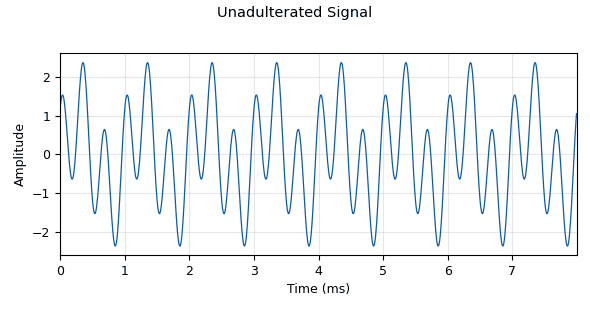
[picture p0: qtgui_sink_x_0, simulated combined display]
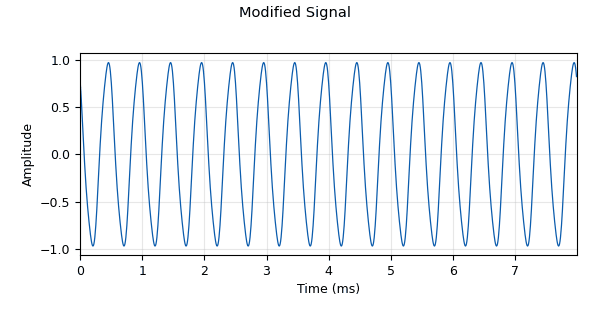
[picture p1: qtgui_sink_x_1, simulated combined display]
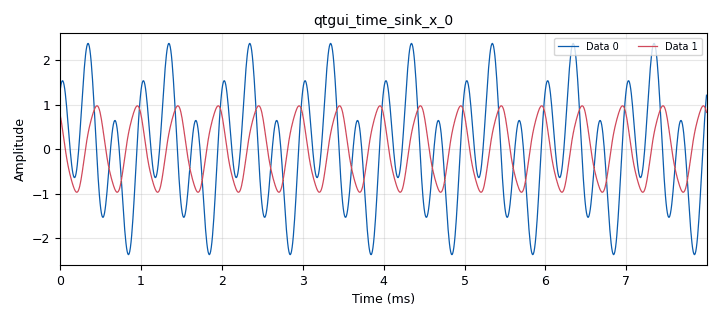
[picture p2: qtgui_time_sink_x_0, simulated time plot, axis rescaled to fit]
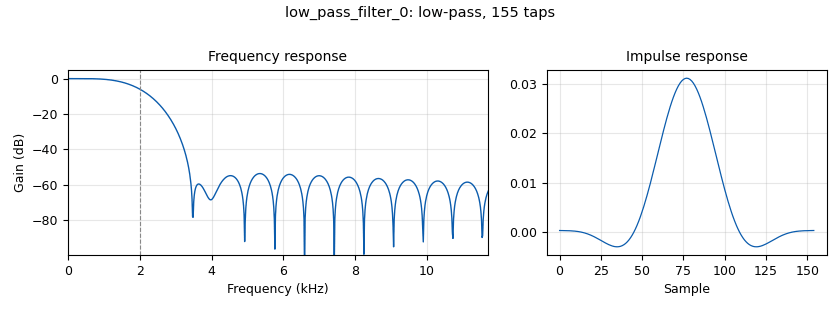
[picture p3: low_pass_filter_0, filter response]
<?xml version='1.0' encoding='utf-8'?>
<?grc format='1' created='3.7.9'?>
<flow_graph>
<block>
<key>options</key>
<param><key>id</key><value>top_block</value></param>
<param><key>category</key><value>Custom</value></param>
<param><key>generate_options</key><value>qt_gui</value></param>
</block>
<block>
<key>variable</key>
<param><key>id</key><value>samp_rate</value></param>
<param><key>value</key><value>32000*4</value></param>
</block>
<block>
<key>variable_qtgui_range</key>
<param><key>id</key><value>ui_lp_decimation</value></param>
<param><key>value</key><value>2</value></param>
<param><key>label</key><value>Decimation</value></param>
<param><key>min_len</key><value>1</value></param>
<param><key>orient</key><value>Qt.Horizontal</value></param>
<param><key>start</key><value>1</value></param>
<param><key>step</key><value>1</value></param>
<param><key>stop</key><value>5</value></param>
<param><key>widget</key><value>counter</value></param>
</block>
<block>
<key>analog_sig_source_x</key>
<param><key>id</key><value>analog_sig_source_x_0</value></param>
<param><key>amp</key><value>1</value></param>
<param><key>freq</key><value>1000</value></param>
<param><key>offset</key><value>0</value></param>
<param><key>type</key><value>float</value></param>
<param><key>samp_rate</key><value>samp_rate</value></param>
<param><key>waveform</key><value>analog.GR_SIN_WAVE</value></param>
</block>
<block>
<key>analog_sig_source_x</key>
<param><key>id</key><value>analog_sig_source_x_1</value></param>
<param><key>amp</key><value>1.5</value></param>
<param><key>freq</key><value>3000</value></param>
<param><key>offset</key><value>0</value></param>
<param><key>type</key><value>float</value></param>
<param><key>samp_rate</key><value>samp_rate</value></param>
<param><key>waveform</key><value>analog.GR_COS_WAVE</value></param>
</block>
<block>
<key>blocks_add_xx</key>
<param><key>id</key><value>blocks_add_xx_0</value></param>
<param><key>type</key><value>float</value></param>
</block>
<block>
<key>blocks_throttle</key>
<param><key>id</key><value>blocks_throttle_0</value></param>
<param><key>samples_per_second</key><value>samp_rate</value></param>
<param><key>type</key><value>float</value></param>
</block>
<block>
<key>low_pass_filter</key>
<param><key>id</key><value>low_pass_filter_0</value></param>
<param><key>cutoff_freq</key><value>2000</value></param>
<param><key>decim</key><value>ui_lp_decimation</value></param>
<param><key>type</key><value>fir_filter_fff</value></param>
<param><key>gain</key><value>1</value></param>
<param><key>samp_rate</key><value>samp_rate</value></param>
<param><key>width</key><value>2000</value></param>
<param><key>win</key><value>firdes.WIN_HAMMING</value></param>
</block>
<block>
<key>qtgui_sink_x</key>
<param><key>id</key><value>qtgui_sink_x_0</value></param>
<param><key>bw</key><value>samp_rate</value></param>
<param><key>fc</key><value>0</value></param>
<param><key>freqchangevar</key><value>None</value></param>
<param><key>fftsize</key><value>1024</value></param>
<param><key>gui_hint</key><value>0,1,1,2</value></param>
<param><key>name</key><value>"Unadulterated Signal"</value></param>
<param><key>plotconst</key><value>False</value></param>
<param><key>plotfreq</key><value>False</value></param>
<param><key>plotwaterfall</key><value>False</value></param>
<param><key>showports</key><value>True</value></param>
<param><key>type</key><value>float</value></param>
<param><key>wintype</key><value>firdes.WIN_BLACKMAN_hARRIS</value></param>
</block>
<block>
<key>qtgui_sink_x</key>
<param><key>id</key><value>qtgui_sink_x_1</value></param>
<param><key>bw</key><value>samp_rate</value></param>
<param><key>fc</key><value>0</value></param>
<param><key>freqchangevar</key><value>None</value></param>
<param><key>fftsize</key><value>1024</value></param>
<param><key>gui_hint</key><value>1,1,1,2</value></param>
<param><key>name</key><value>"Modified Signal"</value></param>
<param><key>plotconst</key><value>False</value></param>
<param><key>plotfreq</key><value>False</value></param>
<param><key>plotwaterfall</key><value>False</value></param>
<param><key>showports</key><value>True</value></param>
<param><key>type</key><value>float</value></param>
<param><key>wintype</key><value>firdes.WIN_BLACKMAN_hARRIS</value></param>
</block>
<block>
<key>qtgui_time_sink_x</key>
<param><key>id</key><value>qtgui_time_sink_x_0</value></param>
<param><key>color1</key><value>"blue"</value></param>
<param><key>label1</key><value></value></param>
<param><key>color2</key><value>"red"</value></param>
<param><key>label2</key><value></value></param>
<param><key>nconnections</key><value>2</value></param>
<param><key>size</key><value>1024</value></param>
<param><key>srate</key><value>samp_rate</value></param>
<param><key>type</key><value>float</value></param>
</block>
<connection><source_block_id>analog_sig_source_x_0</source_block_id><sink_block_id>blocks_add_xx_0</sink_block_id><source_key>0</source_key><sink_key>0</sink_key></connection>
<connection><source_block_id>analog_sig_source_x_1</source_block_id><sink_block_id>blocks_add_xx_0</sink_block_id><source_key>0</source_key><sink_key>1</sink_key></connection>
<connection><source_block_id>blocks_add_xx_0</source_block_id><sink_block_id>blocks_throttle_0</sink_block_id><source_key>0</source_key><sink_key>0</sink_key></connection>
<connection><source_block_id>blocks_throttle_0</source_block_id><sink_block_id>low_pass_filter_0</sink_block_id><source_key>0</source_key><sink_key>0</sink_key></connection>
<connection><source_block_id>blocks_throttle_0</source_block_id><sink_block_id>qtgui_sink_x_0</sink_block_id><source_key>0</source_key><sink_key>0</sink_key></connection>
<connection><source_block_id>blocks_throttle_0</source_block_id><sink_block_id>qtgui_time_sink_x_0</sink_block_id><source_key>0</source_key><sink_key>0</sink_key></connection>
<connection><source_block_id>low_pass_filter_0</source_block_id><sink_block_id>qtgui_sink_x_1</sink_block_id><source_key>0</source_key><sink_key>0</sink_key></connection>
<connection><source_block_id>low_pass_filter_0</source_block_id><sink_block_id>qtgui_time_sink_x_0</sink_block_id><source_key>0</source_key><sink_key>1</sink_key></connection>
</flow_graph>
